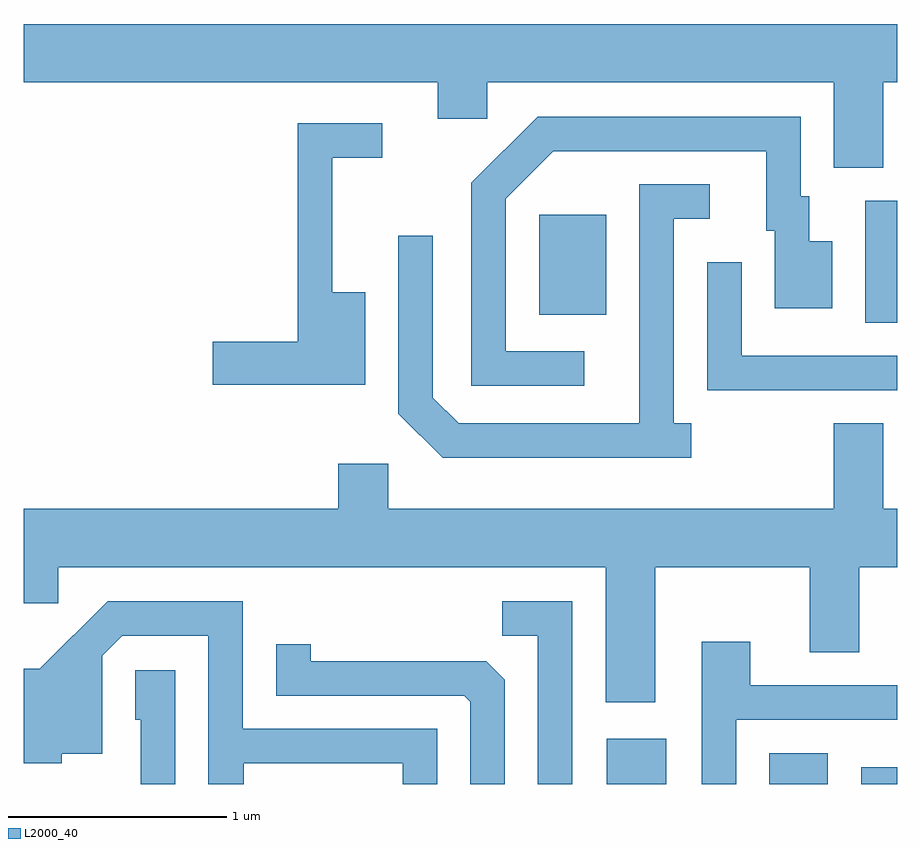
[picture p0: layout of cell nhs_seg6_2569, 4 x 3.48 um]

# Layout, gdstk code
import gdstk
lib = gdstk.Library(unit=1e-6, precision=1e-09)
def R(c, l, rs):  # rectangles x0, y0, x1, y1
    for r in rs: c.add(gdstk.rectangle(r[:2], r[2:], *l))
def P(c, l, *ps):  # polygons
    for p in ps: c.add(gdstk.Polygon(p, *l))
L2000_40 = (2000, 40)

nhs_seg6_2569 = lib.new_cell('nhs_seg6_2569')
R(nhs_seg6_2569, L2000_40, [(266.281,1540.162,266.554,1540.369), (267.026,1540.162,267.294,1540.304), (267.446,1540.162,267.611,1540.239), (267.466,1542.276,267.611,1542.834), (265.971,1542.311,266.279,1542.769)])
P(nhs_seg6_2569, L2000_40, [(267.549,1543.376),(267.611,1543.376),(267.611,1543.644),(263.611,1543.644),(263.611,1543.376),(265.506,1543.376),(265.506,1543.211),(265.734,1543.211),(265.734,1543.376),(267.321,1543.376),(267.321,1542.986),(267.549,1542.986)],
  [(266.178,1542.144),(265.819,1542.144),(265.819,1542.844),(266.037,1543.061),(267.011,1543.061),(267.011,1542.696),(267.051,1542.696),(267.051,1542.341),(267.314,1542.341),(267.314,1542.649),(267.209,1542.649),(267.209,1542.854),(267.169,1542.854),(267.169,1543.219),(265.964,1543.219),(265.661,1542.917),(265.661,1541.986),(266.178,1541.986)],
  [(265.174,1542.414),(265.024,1542.414),(265.024,1543.031),(265.253,1543.031),(265.253,1543.189),(264.866,1543.189),(264.866,1542.189),(264.476,1542.189),(264.476,1541.991),(265.174,1541.991)],
  [(266.668,1541.814),(266.589,1541.814),(266.589,1542.751),(266.753,1542.751),(266.753,1542.909),(266.431,1542.909),(266.431,1541.814),(265.602,1541.814),(265.484,1541.932),(265.484,1542.673),(265.326,1542.673),(265.326,1541.859),(265.529,1541.656),(266.668,1541.656)],
  [(267.611,1542.124),(266.899,1542.124),(266.899,1542.553),(266.741,1542.553),(266.741,1541.966),(267.611,1541.966)],
  [(266.504,1541.156),(267.211,1541.156),(267.211,1540.766),(267.439,1540.766),(267.439,1541.156),(267.611,1541.156),(267.611,1541.424),(267.549,1541.424),(267.549,1541.814),(267.321,1541.814),(267.321,1541.424),(265.279,1541.424),(265.279,1541.629),(265.051,1541.629),(265.051,1541.424),(263.611,1541.424),(263.611,1540.991),(263.769,1540.991),(263.769,1541.156),(266.276,1541.156),(266.276,1540.536),(266.504,1540.536)],
  [(264.619,1540.256),(265.346,1540.256),(265.346,1540.162),(265.504,1540.162),(265.504,1540.414),(264.614,1540.414),(264.614,1540.999),(263.994,1540.999),(263.684,1540.689),(263.611,1540.689),(263.611,1540.256),(263.784,1540.256),(263.784,1540.301),(263.969,1540.301),(263.969,1540.749),(264.062,1540.841),(264.456,1540.841),(264.456,1540.162),(264.619,1540.162)],
  [(266.124,1540.999),(265.803,1540.999),(265.803,1540.841),(265.966,1540.841),(265.966,1540.162),(266.124,1540.162)],
  [(266.874,1540.456),(267.611,1540.456),(267.611,1540.614),(266.939,1540.614),(266.939,1540.814),(266.716,1540.814),(266.716,1540.162),(266.874,1540.162)],
  [(265.814,1540.639),(265.729,1540.724),(264.924,1540.724),(264.924,1540.803),(264.766,1540.803),(264.766,1540.566),(265.629,1540.566),(265.656,1540.539),(265.656,1540.162),(265.814,1540.162)],
  [(264.304,1540.684),(264.121,1540.684),(264.121,1540.456),(264.146,1540.456),(264.146,1540.162),(264.304,1540.162)])

lib.write_gds('nhs_seg6_2569.gds')
